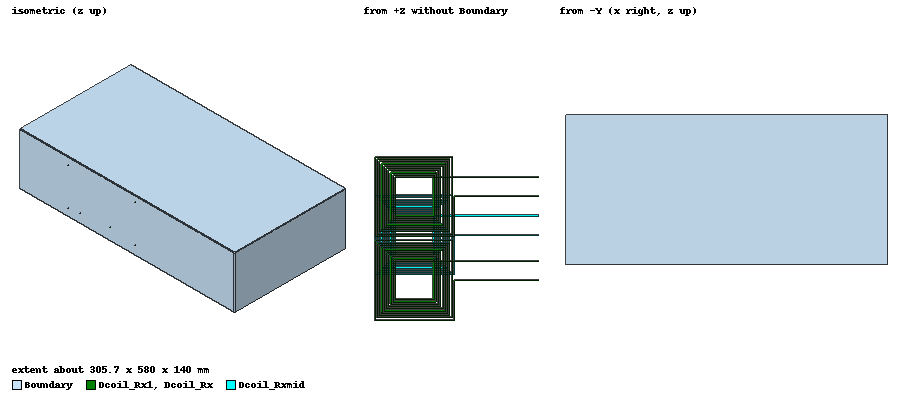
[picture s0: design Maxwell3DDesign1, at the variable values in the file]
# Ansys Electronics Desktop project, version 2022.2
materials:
  vacuum: permittivity=1
  copper litz: permeability=0.999991 conductivity=58000000 stacking_type="Litz Wire" wire_type=Round strand_number=1 wire_diameter=2mm
  air: permittivity=1.0006 permeability=1.0000004

design Maxwell3DDesign1 (Maxwell 3D, EddyCurrent, model units mm)
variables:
  airgap = 100mm
  misal = 0mm
  i = 50A
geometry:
  Dcoil_Tx [copper litz] = polyline(z=0mm, xy in mm: (140, 60) (140, 0) (0, 0) (0, 140) (136, 140) (136, 4) (4, 4) (4, 136) (132, 136) (132, 8) (8, 8) (8, 132) (128, 132) (128, 12) (12, 12) (12, 128) (124, 128) (124, 16) (16, 16) (16, 124) (120, 124) (120, 20) (20, 20) (20, 120) (116, 120) (116, 24) (24, 24) (24, 116) (112, 116) (112, 28) (28, 28) (28, 112) (108, 112) (108, 32) (32, 32) (32, 108) (104, 108) (104, 36) (36, 36) (36, 104), section circle width=2mm)
  Polyline2 = polyline(y=104mm, xz in mm: (36, 0) (36, 4) (1000, 4), section circle width=2mm)
  Polyline3 = polyline(z=0mm, xy in mm: (140, 60) (140, 70) (1000, 70), section circle width=2mm)
  Dcoil_Tx.unite(Polyline2, Polyline3)
  Box2 = box(corner=(300mm, -50mm, 50mm), size=(800mm, 200mm, -200mm))
  Dcoil_Tx.subtract(Box2)
  Dcoil_Tx1 [copper litz] = polyline(z=0mm, xy in mm: (140, 60) (140, 0) (0, 0) (0, 140) (136, 140) (136, 4) (4, 4) (4, 136) (132, 136) (132, 8) (8, 8) (8, 132) (128, 132) (128, 12) (12, 12) (12, 128) (124, 128) (124, 16) (16, 16) (16, 124) (120, 124) (120, 20) (20, 20) (20, 120) (116, 120) (116, 24) (24, 24) (24, 116) (112, 116) (112, 28) (28, 28) (28, 112) (108, 112) (108, 32) (32, 32) (32, 108) (104, 108) (104, 36) (36, 36) (36, 104), section circle width=2mm)
  Polyline4 = polyline(y=104mm, xz in mm: (36, 0) (36, 4) (1000, 4), section circle width=2mm)
  Polyline5 = polyline(z=0mm, xy in mm: (140, 60) (140, 70) (1000, 70), section circle width=2mm)
  Dcoil_Tx1.unite(Polyline4, Polyline5)
  Box3 = box(corner=(300mm, -50mm, 50mm), size=(800mm, 200mm, -200mm))
  Dcoil_Tx1.subtract(Box3)
  Dcoil_Tx1.move(0mm, 148mm, 0mm)
  Boundary [air] = box(corner=(-10mm, -60mm, 120mm), size=(300mm, 580mm, -140mm))
  Box5 = box(corner=(290mm, -60mm, 40mm), size=(230mm, 380mm, -140mm))
  Dcoil_Tx.subtract(Box5)
  Dcoil_Rx [copper litz] = polyline(z=0mm, xy in mm: (140, 60) (140, 0) (0, 0) (0, 140) (136, 140) (136, 4) (4, 4) (4, 136) (132, 136) (132, 8) (8, 8) (8, 132) (128, 132) (128, 12) (12, 12) (12, 128) (124, 128) (124, 16) (16, 16) (16, 124) (120, 124) (120, 20) (20, 20) (20, 120) (116, 120) (116, 24) (24, 24) (24, 116) (112, 116) (112, 28) (28, 28) (28, 112) (108, 112) (108, 32) (32, 32) (32, 108) (104, 108) (104, 36) (36, 36) (36, 104), section circle width=2mm)
  Polyline6 = polyline(y=104mm, xz in mm: (36, 0) (36, 4) (1000, 4), section circle width=2mm)
  Polyline7 = polyline(z=0mm, xy in mm: (140, 60) (140, 70) (1000, 70), section circle width=2mm)
  Dcoil_Rx.unite(Polyline6, Polyline7)
  Box6 = box(corner=(300mm, -50mm, 50mm), size=(800mm, 200mm, -200mm))
  Dcoil_Rx.subtract(Box6)
  Box8 = box(corner=(290mm, -60mm, 40mm), size=(230mm, 380mm, -140mm))
  Dcoil_Rx.subtract(Box8)
  Dcoil_Rx.move(0mm, 0mm, airgap)
  Dcoil_Rx.move(0mm, misal, 0mm)
  Dcoil_Rx1 [copper litz] = polyline(z=0mm, xy in mm: (140, 60) (140, 0) (0, 0) (0, 140) (136, 140) (136, 4) (4, 4) (4, 136) (132, 136) (132, 8) (8, 8) (8, 132) (128, 132) (128, 12) (12, 12) (12, 128) (124, 128) (124, 16) (16, 16) (16, 124) (120, 124) (120, 20) (20, 20) (20, 120) (116, 120) (116, 24) (24, 24) (24, 116) (112, 116) (112, 28) (28, 28) (28, 112) (108, 112) (108, 32) (32, 32) (32, 108) (104, 108) (104, 36) (36, 36) (36, 104), section circle width=2mm)
  Polyline8 = polyline(y=104mm, xz in mm: (36, 0) (36, 4) (1000, 4), section circle width=2mm)
  Polyline9 = polyline(z=0mm, xy in mm: (140, 60) (140, 70) (1000, 70), section circle width=2mm)
  Dcoil_Rx1.unite(Polyline8, Polyline9)
  Box9 = box(corner=(300mm, -50mm, 50mm), size=(800mm, 200mm, -200mm))
  Dcoil_Rx1.subtract(Box9)
  Dcoil_Rx1.move(0mm, 148mm, 100mm)
  Box10 = box(corner=(290mm, -60mm, 120mm), size=(290mm, 580mm, -140mm))
  Dcoil_Tx1.subtract(Box10)
  Box11 = box(corner=(290mm, -60mm, 120mm), size=(260mm, 580mm, -140mm))
  Dcoil_Rx1.subtract(Box11)
  Dcoil_Rx1.move(0mm, misal, 0mm)
  Dcoil_Rxmid [copper litz] = polyline(z=0mm, xy in mm: (140, 60) (140, 0) (0, 0) (0, 140) (136, 140) (136, 4) (4, 4) (4, 136) (132, 136) (132, 8) (8, 8) (8, 132) (128, 132) (128, 12) (12, 12) (12, 128) (124, 128) (124, 16) (16, 16) (16, 124) (120, 124) (120, 20) (20, 20) (20, 120) (116, 120) (116, 24) (24, 24) (24, 116) (112, 116) (112, 28) (28, 28) (28, 112) (108, 112) (108, 32) (32, 32) (32, 108) (104, 108) (104, 36) (36, 36) (36, 104), section circle width=2mm)
  Polyline10 = polyline(y=104mm, xz in mm: (36, 0) (36, 4) (1000, 4), section circle width=2mm)
  Polyline11 = polyline(z=0mm, xy in mm: (140, 60) (140, 70) (1000, 70), section circle width=2mm)
  Dcoil_Rxmid.unite(Polyline10, Polyline11)
  Box12 = box(corner=(300mm, -50mm, 50mm), size=(800mm, 200mm, -200mm))
  Dcoil_Rxmid.subtract(Box12)
  Box13 = box(corner=(290mm, -60mm, 40mm), size=(230mm, 380mm, -140mm))
  Dcoil_Rxmid.subtract(Box13)
  Dcoil_Rxmid.move(0mm, 0mm, airgap)
  Dcoil_Rxmid.move(0mm, misal, 0mm)
  Dcoil_Rxmid.move(0mm, 80mm, -7mm)
  Dcoil_Txmid [copper litz] = polyline(z=0mm, xy in mm: (140, 60) (140, 0) (0, 0) (0, 140) (136, 140) (136, 4) (4, 4) (4, 136) (132, 136) (132, 8) (8, 8) (8, 132) (128, 132) (128, 12) (12, 12) (12, 128) (124, 128) (124, 16) (16, 16) (16, 124) (120, 124) (120, 20) (20, 20) (20, 120) (116, 120) (116, 24) (24, 24) (24, 116) (112, 116) (112, 28) (28, 28) (28, 112) (108, 112) (108, 32) (32, 32) (32, 108) (104, 108) (104, 36) (36, 36) (36, 104), section circle width=2mm)
  Polyline12 = polyline(y=104mm, xz in mm: (36, 0) (36, 4) (1000, 4), section circle width=2mm)
  Polyline13 = polyline(z=0mm, xy in mm: (140, 60) (140, 70) (1000, 70), section circle width=2mm)
  Dcoil_Txmid.unite(Polyline12, Polyline13)
  Box14 = box(corner=(300mm, -50mm, 50mm), size=(800mm, 200mm, -200mm))
  Dcoil_Txmid.subtract(Box14)
  Box15 = box(corner=(290mm, -60mm, 40mm), size=(230mm, 380mm, -140mm))
  Dcoil_Txmid.subtract(Box15)
  Dcoil_Txmid.move(0mm, 0mm, airgap)
  Dcoil_Txmid.move(0mm, 80mm, -93mm)
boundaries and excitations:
  Tx_in1: Current Faces=Dcoil_Tx.face(at (290, 70, 0)) Phase=0deg Current=i IsSolid=false Point_out_of_terminal=false
  Tx_out1: Current Faces=Dcoil_Tx.face(at (290, 104, 4)) Phase=0deg Current=i IsSolid=false Point_out_of_terminal=true
  Rx_in1: Current Faces=Dcoil_Rx.face(#2166) Phase=0deg Current=0mA IsSolid=true Point_out_of_terminal=false
  Rx_out1: Current Faces=Dcoil_Rx.face(#2165) Phase=0deg Current=0mA IsSolid=true Point_out_of_terminal=true
  Rx_in2: Current Faces=Dcoil_Rx1.face(#2510) Phase=0deg Current=0mA IsSolid=true Point_out_of_terminal=false
  Rx_out2: Current Faces=Dcoil_Rx1.face(#2509) Phase=0deg Current=0mA IsSolid=true Point_out_of_terminal=true
  Tx_in2: Current Faces=Dcoil_Tx1.face(at (290, 218, 0)) Phase=0deg Current=i IsSolid=false Point_out_of_terminal=false
  Tx_out2: Current Faces=Dcoil_Tx1.face(at (290, 252, 4)) Phase=0deg Current=i IsSolid=false Point_out_of_terminal=true
  Rx_in3: Current Faces=Dcoil_Rxmid.face(#2729) Phase=0deg Current=0mA IsSolid=true Point_out_of_terminal=false
  Rx_out3: Current Faces=Dcoil_Rxmid.face(#2728) Phase=0deg Current=0mA IsSolid=true Point_out_of_terminal=true
  Tx_in3: Current Faces=Dcoil_Txmid.face(#3034) Phase=0deg Current=i IsSolid=false Point_out_of_terminal=false
  Tx_out3: Current Faces=Dcoil_Txmid.face(#3033) Phase=0deg Current=i IsSolid=false Point_out_of_terminal=true
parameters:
  Matrix1: Matrix Rx_in1, Tx_in1, Rx_in2, Tx_in2, Rx_in3, Tx_in3:
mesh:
  Length1: LengthBased RefineInside Objects=Boundary MaxLength=116mm
  Length2: LengthBased Objects=[Dcoil_Rx, Dcoil_Rx1, Dcoil_Rxmid, Dcoil_Tx, Dcoil_Tx1, Dcoil_Txmid] MaxLength=58.2mm
  initial mesh: GlobalSurfApproximation{CurvedSurfaceApproxChoice=UseSlider SliderMeshSettings=1} GlobalCurvilinear{Apply}
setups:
  Setup1: EddyCurrent MaximumPasses=10 MinimumPasses=2 MinimumConvergedPasses=1 PercentRefinement=30 PercentError=20 RelativeResidual=1e-05 NonLinearResidual=0.0001 Frequency=85kHz SweepRanges{80kHz to 100kHz step 1kHz} SaveAllFields
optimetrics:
  ParametricSetup1: Parametric Sim._Setups=[Setup1]
    sweep misal: LIN 0mm 200mm 50mm
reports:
  Coupling Coeff Plot 1: Matrix1.CplCoef(Tx_in1,Rx_in1), Matrix1.CplCoef(Rx_in2,Rx_in1) vs misal on Setup1 : LastAdaptive [Freq=all]
  Coupling Coeff Table 1: Matrix1.CplCoef(Tx_in1,Rx_in1), Matrix1.CplCoef(Rx_in2,Rx_in1) vs misal on Setup1 : LastAdaptive [Freq=all]
  L Plot 1: Matrix1.L(Tx_in1,Rx_in1), Matrix1.L(Rx_in2,Rx_in1) vs misal on Setup1 : LastAdaptive [Freq=all]
  L Table 1: Matrix1.L(Tx_in1,Rx_in1), Matrix1.L(Rx_in2,Rx_in1) vs misal on Setup1 : LastAdaptive [Freq=all]

design Simplorer1 (Twin Builder)
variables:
  f = 85kHz
  R_load = 10ohm
  Cp = 194nF
  Cs = 990nF
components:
  E_source = E(Type=ESINE AMPL=311.12698V FREQ=f PERIO=0 TPERIO=Tend+1)
  Cp = C(C=Cp)
  Cs = C(C=Cs)
  I_in = AM()
  V_in = VM()
  V_out = VM()
  I_out = AM()
  R_load = R(R=R_load)
  gnd1 = gnd()
  gnd2 = gnd()
  Mx_SS1 = MaxwellData9(ComponentDataType=MaxwellData name=MaxwellData9 filename="$PROJECTDIR\DDQ no ferrite.aedt" numberofports=12 CouplingDesignName=Maxwell3DDesign1 CouplingSolutionName="Setup1 : LastAdaptive" CouplingMatrixName=Matrix1 CouplingType=SparamMaxwell3DLink VariationKey="airgap='100mm' i='50A' misal='0mm'" MaxNumPoles=10000 ErrTol=0.005 SSZref=50ohm Mw2DDepth=1meter MwScale=1 RefPinStyle=3 MxModelType=5 Properties{paramProp(airgap, 100mm) paramProp(i, 50A) paramProp(misal, 0mm)} PortInfo{OnePortInfo(Rx_in1_src, -1, Rx_in1:src) OnePortInfo(Rx_in2_src, -1, Rx_in2:src) OnePortInfo(Rx_in3_src, -1, Rx_in3:src) OnePortInfo(Tx_in1_src, -1, Tx_in1:src) OnePortInfo(Tx_in2_src, -1, Tx_in2:src) OnePortInfo(Tx_in3_src, -1, Tx_in3:src) OnePortInfo(Rx_in1_snk, -1, Rx_in1:snk) OnePortInfo(Rx_in2_snk, -1, Rx_in2:snk) OnePortInfo(Rx_in3_snk, -1, Rx_in3:snk) OnePortInfo(Tx_in1_snk, -1, Tx_in1:snk) OnePortInfo(Tx_in2_snk, -1, Tx_in2:snk) OnePortInfo(Tx_in3_snk, -1, Tx_in3:snk)} misal=0mm)
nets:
  net_1: E_source.1, I_in.1
  net_10: V_out.1, R_load.1, gnd1.0, Mx_SS1.6, Mx_SS1.7, Mx_SS1.8
  net_11: V_in.1, E_source.0, gnd2.0, Mx_SS1.9, Mx_SS1.10, Mx_SS1.11
  net_2: Cp.1, I_in.0
  net_5: V_in.0, Cp.0, Mx_SS1.3, Mx_SS1.4, Mx_SS1.5
  net_7: V_out.0, Mx_SS1.0, Mx_SS1.1, Mx_SS1.2, Cs.0
  net_8: Cs.1, I_out.1
  net_9: R_load.0, I_out.0
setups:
  AC: LinearFrequencyData(1, 80kHz, 100kHz, 1kHz)
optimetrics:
  ParametricSetup1: Parametric SaveSolutions Sim._Setups=[AC]
    sweep Mx_SS1.misal: LIN 0mm 200mm 50mm
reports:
  XY Plot 1: (mag(V_out.V)*mag(I_out.I))/(mag(V_in.V)*mag(I_in.I)) vs Mx_SS1.misal on AC : AC [f=all R_load=all Cp=all Cs=all Freq=all]
  Data Table 1: (mag(V_out.V)*mag(I_out.I))/(mag(V_in.V)*mag(I_in.I)) vs Mx_SS1.misal on AC : AC [f=all R_load=all Cp=all Cs=all Freq=all]
